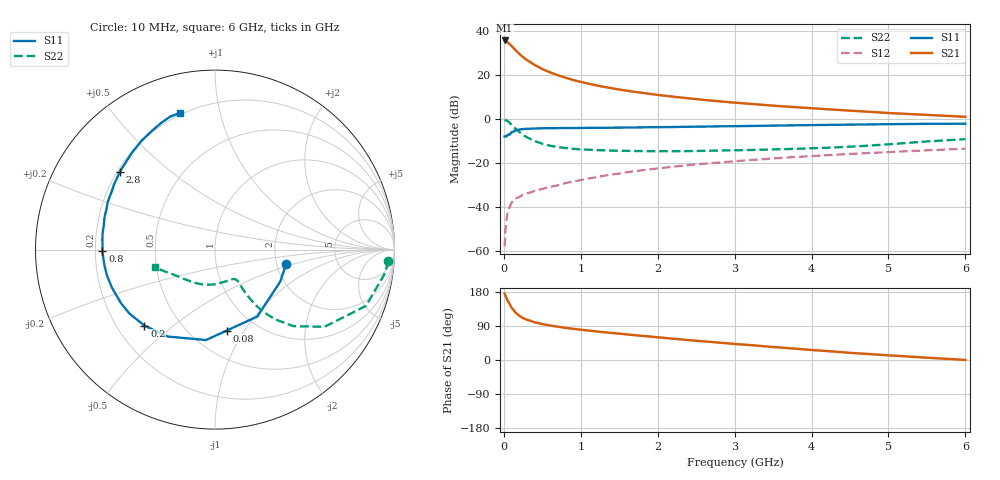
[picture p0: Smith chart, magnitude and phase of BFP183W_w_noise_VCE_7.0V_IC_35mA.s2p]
! Infineon Technologies  Discrete & RF Semiconductors
! BFP183W
! VCE =  7.0 V,  IC =  35 mA
! Common Emitter S-Parameters:  Jan 2017
# GHz  S  MA  R  50
!  f  S11  S21  S12  S22
! GHz  MAG  ANG  MAG  ANG  MAG  ANG  MAG  ANG
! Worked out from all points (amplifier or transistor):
!   77 points, 10 MHz to 6 GHz, reference 50 ohm
!   highest |S21| = 35.7 dB at 10 MHz (marker M1)
!   |S21| within 3 dB of that: start of sweep to 114.4 MHz
!   unconditionally stable (mu >= 1): 894.9 MHz to 3.369 GHz
!   at 130 MHz: K = 0.32, MSG = 34.5 dB, |S12| = -36.8 dB
!   at 2.2 GHz: K = 1.06, MAG = 14.4 dB, |S12| = -21.6 dB
!   at 6 GHz: K = 0.86, MSG = 7.2 dB, |S12| = -13.5 dB
!   lowest NFmin = 1.51 dB at 450 MHz
!   S11 on the Smith chart (normalised r, x): 10 MHz: 2.26, -0.43; 80 MHz: 0.73, -0.84; 200 MHz: 0.31, -0.40; 800 MHz: 0.23, -0.01; 2.8 GHz: 0.21, +0.34; 6 GHz: 0.19, +0.76
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0.01  0.4041 -11.4  61.1 175.1  0.0013 90.1  0.9685 -3.8
0.02  0.4051 -25.9  59.86 169.7  0.0029 88.0  0.9535 -8.3
0.05  0.4413 -57.7  55.73 156.1  0.0077 70.7  0.8982 -20.4
0.08  0.4561 -81.9  49.26 146.0  0.0105 63.3  0.8005 -28.6
0.1  0.5064 -95.7  45.98 137.8  0.0125 60.2  0.7465 -35.2
0.15  0.5521 -118.7  37.16 125.5  0.0157 54.0  0.6107 -44.3
0.2  0.5776 -132.9  30.43 116.8  0.0169 51.6  0.5117 -49.3
0.25  0.5948 -143.0  25.55 110.6  0.0192 49.5  0.4388 -52.2
0.3  0.6028 -150.2  21.84 106.1  0.0204 49.6  0.3857 -53.7
0.4  0.6124 -159.8  16.94 99.4  0.0233 51.4  0.3167 -54.8
0.5  0.6186 -166.4  13.71 94.8  0.026 53.3  0.2761 -54.9
0.6  0.6222 -171.7  11.54 91.0  0.0289 54.7  0.2493 -54.6
0.7  0.6241 -175.7  9.925 87.9  0.0312 57.6  0.2315 -54.1
0.8  0.6276 -179.3  8.72 84.8  0.035 60.1  0.2206 -54.0
1.1  0.6323 172.5  6.38 77.8  0.0448 62.5  0.2017 -55.4
1.5  0.6412 163.7  4.694 69.5  0.0582 63.4  0.1905 -59.7
2.1  0.6579 152.2  3.386 58.1  0.0793 62.4  0.1865 -71.7
2.8  0.6852 140.8  2.535 45.7  0.1036 59.4  0.1932 -90.0
3.1  0.6939 136.2  2.291 40.9  0.1138 57.8  0.1969 -98.1
4.1  0.7347 122.7  1.721 25.0  0.148 51.8  0.2204 -124.8
5.1  0.7693 112.2  1.349 11.1  0.1814 45.4  0.2755 -150.4
6  0.7867 104.3  1.127 0.1  0.2125 39.3  0.3504 -163.9
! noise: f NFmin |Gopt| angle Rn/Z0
0.45  1.51  0.29  -177  0.1
0.9  1.56  0.32  -176  0.1
1.9  2.05  0.47  -154  0.11
2.4  2.31  0.51  -151  0.16
